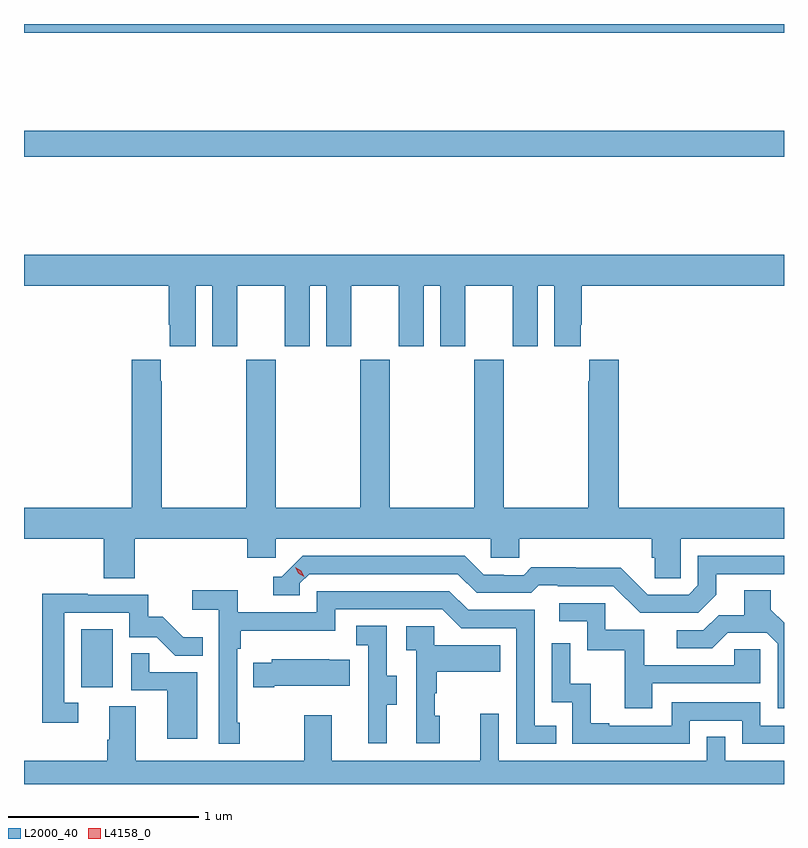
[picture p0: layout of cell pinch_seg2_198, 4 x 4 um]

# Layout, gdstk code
import gdstk
lib = gdstk.Library(unit=1e-6, precision=1e-09)
def R(c, l, rs):  # rectangles x0, y0, x1, y1
    for r in rs: c.add(gdstk.rectangle(r[:2], r[2:], *l))
def P(c, l, *ps):  # polygons
    for p in ps: c.add(gdstk.Polygon(p, *l))
L2000_40 = (2000, 40)
L4158_0 = (4158, 0)

pinch_seg2_198 = lib.new_cell('pinch_seg2_198')
R(pinch_seg2_198, L2000_40, [(975.176,662.838,975.34,663.145), (974.874,665.632,978.874,665.768), (974.874,666.284,978.874,666.33)])
P(pinch_seg2_198, L2000_40, [(974.874,664.952),(975.635,664.952),(975.635,664.747),(975.641,664.747),(975.641,664.635),(975.778,664.635),(975.778,664.952),(975.866,664.952),(975.866,664.635),(975.997,664.635),(975.997,664.952),(976.247,664.952),(976.247,664.635),(976.378,664.635),(976.378,664.952),(976.466,664.952),(976.466,664.635),(976.597,664.635),(976.597,664.952),(976.847,664.952),(976.847,664.635),(976.978,664.635),(976.978,664.952),(977.066,664.952),(977.066,664.635),(977.197,664.635),(977.197,664.952),(977.447,664.952),(977.447,664.635),(977.578,664.635),(977.578,664.952),(977.666,664.952),(977.666,664.635),(977.803,664.635),(977.803,664.747),(977.81,664.747),(977.81,664.952),(978.874,664.952),(978.874,665.116),(974.874,665.116)],
  [(975.458,663.62),(976.049,663.62),(976.049,663.522),(976.2,663.522),(976.2,663.62),(977.331,663.62),(977.331,663.522),(977.481,663.522),(977.481,663.62),(978.179,663.62),(978.179,663.522),(978.193,663.522),(978.193,663.412),(978.33,663.412),(978.33,663.62),(978.874,663.62),(978.874,663.784),(978.005,663.784),(978.005,664.564),(977.849,664.564),(977.849,664.451),(977.845,664.451),(977.845,663.784),(977.4,663.784),(977.4,664.564),(977.245,664.564),(977.245,663.784),(976.8,663.784),(976.8,664.564),(976.645,664.564),(976.645,663.784),(976.2,663.784),(976.2,664.564),(976.045,664.564),(976.045,663.784),(975.6,663.784),(975.6,664.451),(975.595,664.451),(975.595,664.564),(975.44,664.564),(975.44,663.784),(974.874,663.784),(974.874,663.62),(975.293,663.62),(975.293,663.412),(975.458,663.412)],
  [(978.517,663.325),(978.517,663.435),(978.874,663.435),(978.874,663.531),(978.42,663.531),(978.42,663.375),(978.372,663.327),(978.156,663.327),(978.014,663.469),(977.778,663.469),(977.778,663.472),(977.545,663.472),(977.503,663.429),(977.4,663.429),(977.4,663.432),(977.293,663.432),(977.194,663.531),(976.341,663.531),(976.23,663.42),(976.187,663.42),(976.187,663.324),(976.326,663.324),(976.326,663.387),(976.374,663.435),(977.157,663.435),(977.256,663.336),(977.545,663.336),(977.584,663.375),(977.683,663.375),(977.683,663.372),(977.976,663.372),(978.117,663.231),(978.423,663.231)],
  [(976.009,662.653),(975.996,662.653),(975.996,663.041),(976.016,663.041),(976.016,663.137),(976.512,663.137),(976.512,663.249),(977.076,663.249),(977.175,663.15),(977.466,663.15),(977.466,662.541),(977.675,662.541),(977.675,662.637),(977.562,662.637),(977.562,663.246),(977.212,663.246),(977.113,663.345),(976.416,663.345),(976.416,663.234),(975.998,663.234),(975.998,663.35),(975.759,663.35),(975.759,663.248),(975.9,663.248),(975.9,662.541),(976.009,662.541)],
  [(978.874,663.179),(978.805,663.248),(978.805,663.35),(978.665,663.35),(978.665,663.218),(978.53,663.218),(978.45,663.138),(978.309,663.138),(978.309,663.045),(978.496,663.045),(978.577,663.126),(978.783,663.126),(978.84,663.069),(978.84,662.73),(978.874,662.73)],
  [(975.16,662.757),(975.087,662.757),(975.087,663.231),(975.429,663.231),(975.429,663.102),(975.573,663.102),(975.671,663.004),(975.815,663.004),(975.815,663.103),(975.711,663.103),(975.604,663.21),(975.528,663.21),(975.528,663.327),(975.209,663.327),(975.209,663.332),(974.971,663.332),(974.971,662.652),(975.16,662.652)],
  [(978.181,662.859),(978.75,662.859),(978.75,663.039),(978.613,663.039),(978.613,662.955),(978.139,662.955),(978.139,663.141),(977.934,663.141),(977.934,663.282),(977.691,663.282),(977.691,663.186),(977.838,663.186),(977.838,663.033),(978.037,663.033),(978.037,662.73),(978.181,662.73)],
  [(976.783,662.746),(976.837,662.746),(976.837,662.901),(976.782,662.901),(976.782,663.164),(976.623,663.164),(976.623,663.061),(976.686,663.061),(976.686,662.757),(976.685,662.757),(976.685,662.544),(976.783,662.544)],
  [(977.062,662.688),(977.037,662.688),(977.037,662.807),(977.047,662.807),(977.047,662.921),(977.381,662.921),(977.381,663.061),(977.034,663.061),(977.034,663.159),(976.887,663.159),(976.887,663.035),(976.938,663.035),(976.938,662.544),(977.062,662.544)],
  [(978.378,662.664),(978.654,662.664),(978.654,662.541),(978.874,662.541),(978.874,662.637),(978.75,662.637),(978.75,662.76),(978.282,662.76),(978.282,662.637),(977.953,662.637),(977.953,662.65),(977.858,662.65),(977.858,662.858),(977.748,662.858),(977.748,663.07),(977.652,663.07),(977.652,662.76),(977.76,662.76),(977.76,662.541),(978.378,662.541)],
  [(975.787,662.919),(975.533,662.919),(975.533,663.017),(975.438,663.017),(975.438,662.823),(975.629,662.823),(975.629,662.568),(975.787,662.568)],
  [(976.192,662.846),(976.589,662.846),(976.589,662.983),(976.481,662.983),(976.481,662.986),(976.179,662.986),(976.179,662.968),(976.081,662.968),(976.081,662.839),(976.192,662.839)],
  [(978.874,662.452),(978.564,662.452),(978.564,662.579),(978.468,662.579),(978.468,662.452),(977.373,662.452),(977.373,662.701),(977.276,662.701),(977.276,662.452),(976.495,662.452),(976.495,662.692),(976.348,662.692),(976.348,662.452),(975.463,662.452),(975.463,662.738),(975.323,662.738),(975.323,662.564),(975.311,662.564),(975.311,662.452),(974.874,662.452),(974.874,662.33),(978.874,662.33)])
P(pinch_seg2_198, L4158_0, [(976.349,663.42),(976.318,663.44),(976.302,663.472),(976.302,663.472),(976.302,663.472),(976.333,663.453),(976.349,663.421),(976.349,663.42)])

lib.write_gds('pinch_seg2_198.gds')
